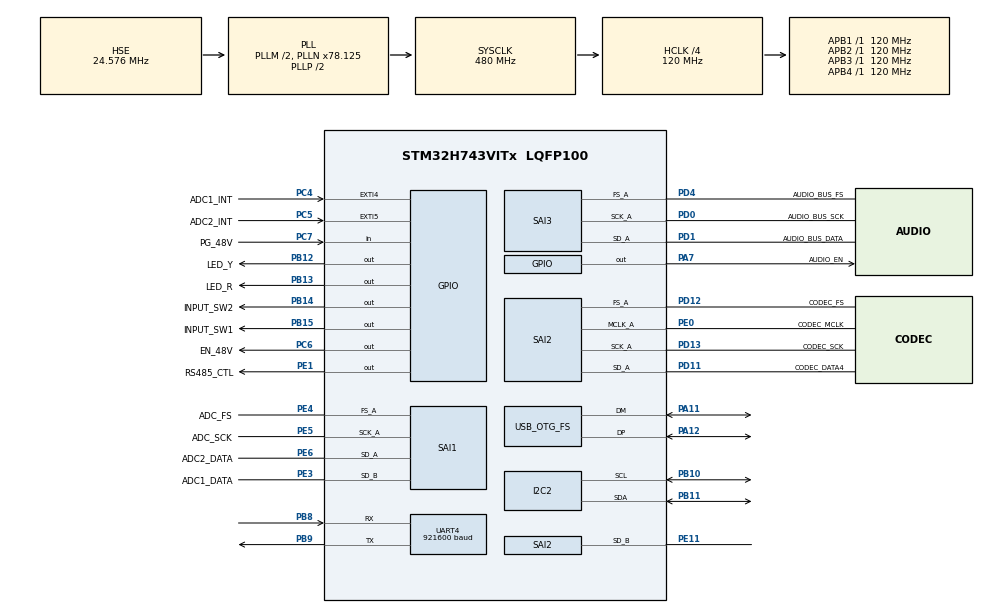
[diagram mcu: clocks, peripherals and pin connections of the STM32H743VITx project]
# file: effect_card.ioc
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CORTEX_M7.default_mode_Activation=1
Dma.Request0=SAI1_A
Dma.Request1=SAI1_B
Dma.SAI1_A.0.Direction=DMA_PERIPH_TO_MEMORY
Dma.SAI1_A.0.EventEnable=DISABLE
Dma.SAI1_A.0.FIFOMode=DMA_FIFOMODE_DISABLE
Dma.SAI1_A.0.Instance=DMA1_Stream0
Dma.SAI1_A.0.MemDataAlignment=DMA_MDATAALIGN_WORD
Dma.SAI1_A.0.MemInc=DMA_MINC_ENABLE
Dma.SAI1_A.0.Mode=DMA_CIRCULAR
Dma.SAI1_A.0.PeriphDataAlignment=DMA_PDATAALIGN_WORD
Dma.SAI1_A.0.PeriphInc=DMA_PINC_DISABLE
Dma.SAI1_A.0.Polarity=HAL_DMAMUX_REQ_GEN_RISING
Dma.SAI1_A.0.Priority=DMA_PRIORITY_LOW
Dma.SAI1_A.0.RequestNumber=1
Dma.SAI1_A.0.SignalID=NONE
Dma.SAI1_A.0.SyncEnable=DISABLE
Dma.SAI1_A.0.SyncPolarity=HAL_DMAMUX_SYNC_NO_EVENT
Dma.SAI1_A.0.SyncRequestNumber=1
Dma.SAI1_A.0.SyncSignalID=NONE
Dma.SAI1_B.1.Direction=DMA_PERIPH_TO_MEMORY
Dma.SAI1_B.1.EventEnable=DISABLE
Dma.SAI1_B.1.FIFOMode=DMA_FIFOMODE_DISABLE
Dma.SAI1_B.1.Instance=DMA1_Stream1
Dma.SAI1_B.1.MemDataAlignment=DMA_MDATAALIGN_WORD
Dma.SAI1_B.1.MemInc=DMA_MINC_ENABLE
Dma.SAI1_B.1.Mode=DMA_CIRCULAR
Dma.SAI1_B.1.PeriphDataAlignment=DMA_PDATAALIGN_WORD
Dma.SAI1_B.1.PeriphInc=DMA_PINC_DISABLE
Dma.SAI1_B.1.Polarity=HAL_DMAMUX_REQ_GEN_RISING
Dma.SAI1_B.1.Priority=DMA_PRIORITY_LOW
Dma.SAI1_B.1.RequestNumber=1
Dma.SAI1_B.1.SignalID=NONE
Dma.SAI1_B.1.SyncEnable=DISABLE
Dma.SAI1_B.1.SyncPolarity=HAL_DMAMUX_SYNC_NO_EVENT
Dma.SAI1_B.1.SyncRequestNumber=1
Dma.SAI1_B.1.SyncSignalID=NONE
I2C2.Timing=0x307075B1
Mcu.Family=STM32H7
Mcu.Name=STM32H743VITx
Mcu.Package=LQFP100
NVIC.DMA1_Stream0_IRQn=true\:0\:0\:false\:false\:true\:false\:true\:true
NVIC.DMA1_Stream1_IRQn=true\:0\:0\:false\:false\:true\:false\:true\:true
NVIC.OTG_FS_IRQn=true\:0\:0\:false\:false\:true\:true\:true\:true
NVIC.PriorityGroup=NVIC_PRIORITYGROUP_4
NVIC.SAI1_IRQn=true\:0\:0\:false\:false\:true\:true\:true\:true
PA11.Mode=Device_Only
PA11.Signal=USB_OTG_FS_DM
PA12.Mode=Device_Only
PA12.Signal=USB_OTG_FS_DP
PA7.GPIO_Label=AUDIO_EN
PA7.Signal=GPIO_Output
PB10.Mode=I2C
PB10.Signal=I2C2_SCL
PB11.Mode=I2C
PB11.Signal=I2C2_SDA
PB12.GPIO_Label=LED_Y
PB12.Signal=GPIO_Output
PB13.GPIO_Label=LED_R
PB13.Signal=GPIO_Output
PB14.GPIO_Label=INPUT_SW2
PB14.Signal=GPIO_Output
PB15.GPIO_Label=INPUT_SW1
PB15.Signal=GPIO_Output
PB8.Mode=Asynchronous
PB8.Signal=UART4_RX
PB9.Mode=Asynchronous
PB9.Signal=UART4_TX
PC4.GPIO_Label=ADC1_INT
PC4.Signal=GPXTI4
PC5.GPIO_Label=ADC2_INT
PC5.Signal=GPXTI5
PC6.GPIO_Label=EN_48V
PC6.Signal=GPIO_Output
PC7.GPIO_Label=PG_48V
PC7.Signal=GPIO_Input
PD0.GPIO_Label=AUDIO_BUS_SCK
PD0.Mode=SAI_A_Master
PD0.Signal=SAI3_SCK_A
PD1.GPIO_Label=AUDIO_BUS_DATA
PD1.Mode=SAI_A_Master
PD1.Signal=SAI3_SD_A
PD11.GPIO_Label=CODEC_DATA4
PD11.Mode=SAI_A_MasterWithClock
PD11.Signal=SAI2_SD_A
PD12.GPIO_Label=CODEC_FS
PD12.Mode=SAI_A_MasterWithClock
PD12.Signal=SAI2_FS_A
PD13.GPIO_Label=CODEC_SCK
PD13.Mode=SAI_A_MasterWithClock
PD13.Signal=SAI2_SCK_A
PD4.GPIO_Label=AUDIO_BUS_FS
PD4.Mode=SAI_A_Master
PD4.Signal=SAI3_FS_A
PE0.GPIO_Label=CODEC_MCLK
PE0.Mode=SAI_A_MasterWithClock
PE0.Signal=SAI2_MCLK_A
PE1.GPIO_Label=RS485_CTL
PE1.Signal=GPIO_Output
PE11.Mode=SAI_B_SyncSlave
PE11.Signal=SAI2_SD_B
PE3.GPIO_Label=ADC1_DATA
PE3.Mode=SAI_B_SyncSlave
PE3.Signal=SAI1_SD_B
PE4.GPIO_Label=ADC_FS
PE4.Mode=SAI_A_Master
PE4.Signal=SAI1_FS_A
PE5.GPIO_Label=ADC_SCK
PE5.Mode=SAI_A_Master
PE5.Signal=SAI1_SCK_A
PE6.GPIO_Label=ADC2_DATA
PE6.Mode=SAI_A_Master
PE6.Signal=SAI1_SD_A
PH0-OSC_IN\ (PH0).Mode=HSE-External-Clock-Source
PH0-OSC_IN\ (PH0).Signal=RCC_OSC_IN
ProjectManager.HeapSize=0x200
ProjectManager.StackSize=0x400
ProjectManager.TargetToolchain=CMake
RCC.ADCFreq_Value=147456000
RCC.APB1Freq_Value=120000000
RCC.APB2Freq_Value=120000000
RCC.APB3Freq_Value=120000000
RCC.APB4Freq_Value=120000000
RCC.CortexFreq_Value=480000000
RCC.DIVM1=2
RCC.DIVM2=2
RCC.DIVM3=4
RCC.DIVN1=78
RCC.DIVN2=12
RCC.DIVN3=64
RCC.DIVP2=1
RCC.DIVP3=16
RCC.DIVQ1=15
RCC.DIVQ2=16
RCC.DIVQ3=16
RCC.DIVR3=16
RCC.EXTERNAL_CLOCK_VALUE=24576000
RCC.HCLKFreq_Value=120000000
RCC.HPRE=RCC_HCLK_DIV4
RCC.HSE_VALUE=24576000
RCC.PLL2FRACN=0
RCC.PLL3FRACN=0
RCC.PLLFRACN=1024
RCC.PLLSourceVirtual=RCC_PLLSOURCE_HSE
RCC.SAI1CLockSelection=RCC_SAI1CLKSOURCE_PLL3
RCC.SAI23CLockSelection=RCC_SAI23CLKSOURCE_PLL3
RCC.SYSCLKFreq_VALUE=480000000
RCC.SYSCLKSource=RCC_SYSCLKSOURCE_PLLCLK
RCC.USBCLockSelection=RCC_USBCLKSOURCE_HSI48
RCC.USBFreq_Value=48000000
SAI1.AudioFrequency-SAI_A_Master=SAI_AUDIO_FREQUENCY_96K
SAI1.AudioMode-SAI_A_Master=SAI_MODEMASTER_RX
SAI1.DataSize-SAI_A_Master=SAI_DATASIZE_32
SAI1.DataSize-SAI_B_SyncSlave=SAI_DATASIZE_32
SAI1.ErrorAudioFreq-SAI_A_Master=0.0 %
SAI1.FrameLength-SAI_A_Master=128
SAI1.FrameLength-SAI_B_SyncSlave=128
SAI1.Instance-SAI_A_Master=SAI$Index_Block_A
SAI1.Instance-SAI_B_SyncSlave=SAI$Index_Block_B
SAI1.MClockEnable=SAI_MASTERCLOCK_DISABLE
SAI1.RealAudioFreq-SAI_A_Master=96.0 KHz
SAI1.SlotActive-SAI_A_Master=0x0000000F
SAI1.SlotActive-SAI_B_SyncSlave=0x0000000F
SAI1.SlotNumber-SAI_A_Master=4
SAI1.SlotNumber-SAI_B_SyncSlave=4
SAI1.VirtualMode-SAI_A_Master=VM_MASTER
SAI1.VirtualMode-SAI_B_SyncSlave=VM_SLAVE
SAI1.VirtualSlotActive-SAI_A_Master=SAI_SLOT_USERSETTING
SAI1.VirtualSlotActive-SAI_B_SyncSlave=SAI_SLOT_USERSETTING
SAI1.VirtualSlotActive0-SAI_A_Master=true
SAI1.VirtualSlotActive0-SAI_B_SyncSlave=true
SAI1.VirtualSlotActive1-SAI_A_Master=true
SAI1.VirtualSlotActive1-SAI_B_SyncSlave=true
SAI1.VirtualSlotActive2-SAI_A_Master=true
SAI1.VirtualSlotActive2-SAI_B_SyncSlave=true
SAI1.VirtualSlotActive3-SAI_A_Master=true
SAI1.VirtualSlotActive3-SAI_B_SyncSlave=true
SAI2.AudioFrequency-SAI_A_MasterWithClock=SAI_AUDIO_FREQUENCY_96K
SAI2.DataSize-SAI_A_MasterWithClock=SAI_DATASIZE_32
SAI2.DataSize-SAI_B_SyncSlave=SAI_DATASIZE_32
SAI2.ErrorAudioFreq-SAI_A_MasterWithClock=0.0 %
SAI2.FrameLength-SAI_A_MasterWithClock=32
SAI2.FrameLength-SAI_B_SyncSlave=32
SAI2.Instance-SAI_A_MasterWithClock=SAI$Index_Block_A
SAI2.Instance-SAI_B_SyncSlave=SAI$Index_Block_B
SAI2.MClockEnable-SAI_A_MasterWithClock=SAI_MASTERCLOCK_ENABLE
SAI2.RealAudioFreq-SAI_A_MasterWithClock=96.0 KHz
SAI2.VirtualMode-SAI_A_MasterWithClock=VM_MASTER
SAI2.VirtualMode-SAI_B_SyncSlave=VM_SLAVE
SAI3.AudioFrequency-SAI_A_Master=SAI_AUDIO_FREQUENCY_96K
SAI3.AudioMode-SAI_A_Master=SAI_MODEMASTER_RX
SAI3.DataSize-SAI_A_Master=SAI_DATASIZE_32
SAI3.ErrorAudioFreq-SAI_A_Master=0.0 %
SAI3.FrameLength-SAI_A_Master=256
SAI3.Instance-SAI_A_Master=SAI$Index_Block_A
SAI3.MClockEnable-SAI_A_Master=SAI_MASTERCLOCK_DISABLE
SAI3.RealAudioFreq-SAI_A_Master=96.0 KHz
SAI3.SlotNumber-SAI_A_Master=8
SAI3.VirtualMode-SAI_A_Master=VM_MASTER
UART4.BaudRate=921600
USB_OTG_FS.VirtualMode=Device_Only
VP_MEMORYMAP_VS_MEMORYMAP.Mode=CurAppReg
board=custom

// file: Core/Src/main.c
/* USER CODE BEGIN Header */
/**
 ******************************************************************************
 * @file           : main.c
 * @brief          : Main program body
 ******************************************************************************
 * @attention
 *
 * Copyright (c) 2026 STMicroelectronics.
 * All rights reserved.
 *
 * This software is licensed under terms that can be found in the LICENSE file
 * in the root directory of this software component.
 * If no LICENSE file comes with this software, it is provided AS-IS.
 *
 ******************************************************************************
 */
/* USER CODE END Header */
#include "main.h"
#include "dma.h"
#include "gpio.h"
#include "i2c.h"
#include "sai.h"
#include "usart.h"
#include "usb_otg.h"

/* USER CODE BEGIN Includes */
#include "effect_console.h"
#include "usb_app.h"

/* USER CODE END Includes */

void SystemClock_Config(void);
void PeriphCommonClock_Config(void);
static void MPU_Config(void);

/* USER CODE BEGIN 0 */

/* Console / RS485 / ADC bring-up / LED flash live in effect_console.c */

/* ---------------- SAI TDM capture -> USB mono stream ----------------
 *
 * Both TLV320ADC6140s share BCLK/FSYNC from SAI1_A (master RX):
 *   SAI1_B (slave)  <- ADC1 (0x4C, PE3)  = u 1..4  (TDM slots 0..3)
 *   SAI1_A (master) <- ADC2 (0x4D, PE6)  = u 5..8  (TDM slots 0..3)
 *
 * Circular DMA fills each block's ring buffer; every half (1 ms = 96
 * frames x 4 slots) the callback picks the selected channel's slot and
 * pushes 96 mono samples into the TinyUSB audio FIFO.
 *
 * Buffers live in AXI SRAM (.axi_ram section): DMA1 cannot access the
 * default DTCM RAM.  NOLOAD section — never assume zero-init. */
/* 1 ms of frames — deliberately MATCHED to the USB frame interval so the
 * producer (this callback) and the consumer (one iso IN token per 1 ms)
 * tick at the same cadence and the FIFO stays near-constant.  With 2 ms
 * halves the FIFO swung 192->0 every cycle and any frame landing on the
 * empty phase got a short packet = audible dropout. */
#define SAI_FRAMES_PER_HALF 96 /* 1 ms at 96 kHz */
#define SAI_WORDS_PER_HALF (SAI_FRAMES_PER_HALF * 4)
static int32_t sai_rx_a[2 * SAI_WORDS_PER_HALF]
    __attribute__((section(".axi_ram"), aligned(32)));
static int32_t sai_rx_b[2 * SAI_WORDS_PER_HALF]
    __attribute__((section(".axi_ram"), aligned(32)));

/** De-interleave one DMA half-buffer and feed the USB mic FIFO. */
static void SAI_FeedUSB(SAI_HandleTypeDef *hsai, uint8_t second_half) {
  uint8_t ch = usb_adc_ch; /* snapshot: 1..8 */
  uint8_t want_a = (ch >= 5);
  uint8_t is_a = (hsai->Instance == SAI1_Block_A);
  if (want_a != is_a)
    return; /* this block doesn't carry the selected channel */

  const int32_t *buf =
      (is_a ? sai_rx_a : sai_rx_b) + (second_half ? SAI_WORDS_PER_HALF : 0);
  uint8_t slot = (uint8_t)((ch - 1) & 3);

  static int32_t mono[SAI_FRAMES_PER_HALF];
  for (uint32_t i = 0; i < SAI_FRAMES_PER_HALF; i++) {
    mono[i] = buf[i * 4 + slot];
  }
  USB_Audio_Write((const uint8_t *)mono, sizeof mono);
}

void HAL_SAI_RxHalfCpltCallback(SAI_HandleTypeDef *hsai) {
  SAI_FeedUSB(hsai, 0);
}

void HAL_SAI_RxCpltCallback(SAI_HandleTypeDef *hsai) { SAI_FeedUSB(hsai, 1); }

/* USER CODE END 0 */

int main(void) {

  /* USER CODE BEGIN 1 */
  /* Same as Channel Card: fetch from flash at high SYSCLK without I-cache
   * burns cycles in USB/SAI ISRs. I-cache only — D-cache needs non-cacheable
   * MPU regions for DMA/AXI buffers, which this MPU_Config does not set up. */
  SCB_EnableICache();
  /* USER CODE END 1 */

  /* MPU Configuration--------------------------------------------------------*/
  MPU_Config();

  /* MCU Configuration--------------------------------------------------------*/

  /* Reset of all peripherals, Initializes the Flash interface and the Systick.
   */
  HAL_Init();

  /* Configure the system clock */
  SystemClock_Config();

  /* Configure the peripherals common clocks */
  PeriphCommonClock_Config();

  /* Initialize all configured peripherals */
  MX_GPIO_Init();
  MX_DMA_Init();
  MX_SAI1_Init();
  MX_I2C2_Init();
  MX_SAI2_Init();
  MX_UART4_Init();
  MX_USB_OTG_FS_PCD_Init();
  MX_SAI3_Init();
  /* USER CODE BEGIN 2 */

  /* RS485 idle Hi-Z, LED blink, AUDIO_EN, both ADCs configured. */
  EffectConsole_Init();

  /* TinyUSB device stack (UAC2 mic + CDC console).  MX_USB_OTG_FS_PCD_Init
   * already set up clocks/pins/NVIC via HAL; tud_init() re-owns and
   * reconfigures the OTG core registers.  HAL_PCD_Start is never called,
   * so the two stacks don't fight. */
  USB_App_Init();

  /* ISO-IN arming is timing-critical: if the USB ISR is delayed past the
   * next IN token, that frame is missed (measured ~5/s with everything at
   * equal priority).  Demote the SAI DMA interrupts below USB — their
   * deadline is a lazy 2 ms (half-buffer), so USB preempting them costs
   * nothing while letting endpoint re-arm happen immediately. */
  HAL_NVIC_SetPriority(DMA1_Stream0_IRQn, 1, 0);
  HAL_NVIC_SetPriority(DMA1_Stream1_IRQn, 1, 0);

  /* Slave block (B) first so it's armed when the master starts clocking. */
  if (HAL_SAI_Receive_DMA(&hsai_BlockB1, (uint8_t *)sai_rx_b,
                          2 * SAI_WORDS_PER_HALF) != HAL_OK ||
      HAL_SAI_Receive_DMA(&hsai_BlockA1, (uint8_t *)sai_rx_a,
                          2 * SAI_WORDS_PER_HALF) != HAL_OK) {
    EffectConsole_Reply("err: SAI capture start failed\r\n");
  }

  /* One Reply per line: each RS485 frame is capped well below the full
   * banner length, and per-line sends survive truncation individually. */
  EffectConsole_Reply("\r\n");
  EffectConsole_Reply("**************************************************\r\n");
  EffectConsole_Reply("*  Effect Card [E] ready  (multi-drop RS485)     *\r\n");
  EffectConsole_Reply("*  Type 'help' or 'e:help' for the console menu. *\r\n");
  EffectConsole_Reply("**************************************************\r\n");

  /* USER CODE END 2 */

  /* Infinite loop */
  while (1) {

    /* USER CODE BEGIN 3 */

    EffectConsole_Poll(); /* RS485 console + LED flash */
    USB_App_Task();        /* TinyUSB stack + CDC console */
  }
  /* USER CODE END 3 */
}

void SystemClock_Config(void) {
  RCC_OscInitTypeDef RCC_OscInitStruct = {0};
  RCC_ClkInitTypeDef RCC_ClkInitStruct = {0};

  /** Supply configuration update enable
   */
  HAL_PWREx_ConfigSupply(PWR_LDO_SUPPLY);

  /** Configure the main internal regulator output voltage
   */
  __HAL_PWR_VOLTAGESCALING_CONFIG(PWR_REGULATOR_VOLTAGE_SCALE0);

  while (!__HAL_PWR_GET_FLAG(PWR_FLAG_VOSRDY)) {
  }

  /** Initializes the RCC Oscillators according to the specified parameters
   * in the RCC_OscInitTypeDef structure.
   */
  RCC_OscInitStruct.OscillatorType =
      RCC_OSCILLATORTYPE_HSI48 | RCC_OSCILLATORTYPE_HSE;
  RCC_OscInitStruct.HSEState = RCC_HSE_BYPASS;
  RCC_OscInitStruct.HSI48State = RCC_HSI48_ON;
  RCC_OscInitStruct.PLL.PLLState = RCC_PLL_ON;
  RCC_OscInitStruct.PLL.PLLSource = RCC_PLLSOURCE_HSE;
  RCC_OscInitStruct.PLL.PLLM = 2;
  RCC_OscInitStruct.PLL.PLLN = 78;
  RCC_OscInitStruct.PLL.PLLP = 2;
  RCC_OscInitStruct.PLL.PLLQ = 15;
  RCC_OscInitStruct.PLL.PLLR = 2;
  RCC_OscInitStruct.PLL.PLLRGE = RCC_PLL1VCIRANGE_3;
  RCC_OscInitStruct.PLL.PLLVCOSEL = RCC_PLL1VCOWIDE;
  RCC_OscInitStruct.PLL.PLLFRACN = 1024;
  if (HAL_RCC_OscConfig(&RCC_OscInitStruct) != HAL_OK) {
    Error_Handler();
  }

  /** Initializes the CPU, AHB and APB buses clocks
   */
  RCC_ClkInitStruct.ClockType = RCC_CLOCKTYPE_HCLK | RCC_CLOCKTYPE_SYSCLK |
                                RCC_CLOCKTYPE_PCLK1 | RCC_CLOCKTYPE_PCLK2 |
                                RCC_CLOCKTYPE_D3PCLK1 | RCC_CLOCKTYPE_D1PCLK1;
  RCC_ClkInitStruct.SYSCLKSource = RCC_SYSCLKSOURCE_PLLCLK;
  RCC_ClkInitStruct.SYSCLKDivider = RCC_SYSCLK_DIV1;
  RCC_ClkInitStruct.AHBCLKDivider = RCC_HCLK_DIV4;
  RCC_ClkInitStruct.APB3CLKDivider = RCC_APB3_DIV1;
  RCC_ClkInitStruct.APB1CLKDivider = RCC_APB1_DIV1;
  RCC_ClkInitStruct.APB2CLKDivider = RCC_APB2_DIV1;
  RCC_ClkInitStruct.APB4CLKDivider = RCC_APB4_DIV1;

  if (HAL_RCC_ClockConfig(&RCC_ClkInitStruct, FLASH_LATENCY_1) != HAL_OK) {
    Error_Handler();
  }
}

void PeriphCommonClock_Config(void) {
  RCC_PeriphCLKInitTypeDef PeriphClkInitStruct = {0};

  /** Initializes the peripherals clock
   */
  PeriphClkInitStruct.PeriphClockSelection =
      RCC_PERIPHCLK_SAI1 | RCC_PERIPHCLK_SAI2 | RCC_PERIPHCLK_SAI3;
  PeriphClkInitStruct.PLL3.PLL3M = 4;
  PeriphClkInitStruct.PLL3.PLL3N = 64;
  PeriphClkInitStruct.PLL3.PLL3P = 16;
  PeriphClkInitStruct.PLL3.PLL3Q = 16;
  PeriphClkInitStruct.PLL3.PLL3R = 16;
  PeriphClkInitStruct.PLL3.PLL3RGE = RCC_PLL3VCIRANGE_2;
  PeriphClkInitStruct.PLL3.PLL3VCOSEL = RCC_PLL3VCOWIDE;
  PeriphClkInitStruct.PLL3.PLL3FRACN = 0;
  PeriphClkInitStruct.Sai1ClockSelection = RCC_SAI1CLKSOURCE_PLL3;
  PeriphClkInitStruct.Sai23ClockSelection = RCC_SAI23CLKSOURCE_PLL3;
  if (HAL_RCCEx_PeriphCLKConfig(&PeriphClkInitStruct) != HAL_OK) {
    Error_Handler();
  }
}

/* MPU Configuration */

void MPU_Config(void) {
  MPU_Region_InitTypeDef MPU_InitStruct = {0};

  /* Disables the MPU */
  HAL_MPU_Disable();

  /** Initializes and configures the Region and the memory to be protected
   */
  MPU_InitStruct.Enable = MPU_REGION_ENABLE;
  MPU_InitStruct.Number = MPU_REGION_NUMBER0;
  MPU_InitStruct.BaseAddress = 0x0;
  MPU_InitStruct.Size = MPU_REGION_SIZE_4GB;
  MPU_InitStruct.SubRegionDisable = 0x87;
  MPU_InitStruct.TypeExtField = MPU_TEX_LEVEL0;
  MPU_InitStruct.AccessPermission = MPU_REGION_NO_ACCESS;
  MPU_InitStruct.DisableExec = MPU_INSTRUCTION_ACCESS_DISABLE;
  MPU_InitStruct.IsShareable = MPU_ACCESS_SHAREABLE;
  MPU_InitStruct.IsCacheable = MPU_ACCESS_NOT_CACHEABLE;
  MPU_InitStruct.IsBufferable = MPU_ACCESS_NOT_BUFFERABLE;

  HAL_MPU_ConfigRegion(&MPU_InitStruct);
  /* Enables the MPU */
  HAL_MPU_Enable(MPU_PRIVILEGED_DEFAULT);
}

void Error_Handler(void) {
  __disable_irq();
  while (1) {
  }
}
#ifdef USE_FULL_ASSERT
/**
 * @brief  Reports the name of the source file and the source line number
 *         where the assert_param error has occurred.
 * @param  file: pointer to the source file name
 * @param  line: assert_param error line source number
 * @retval None
 */
void assert_failed(uint8_t *file, uint32_t line) {
  /* USER CODE BEGIN 6 */
  /* User can add his own implementation to report the file name and line
     number, ex: printf("Wrong parameters value: file %s on line %d\r\n", file,
     line) */
  /* USER CODE END 6 */
}
#endif /* USE_FULL_ASSERT */
